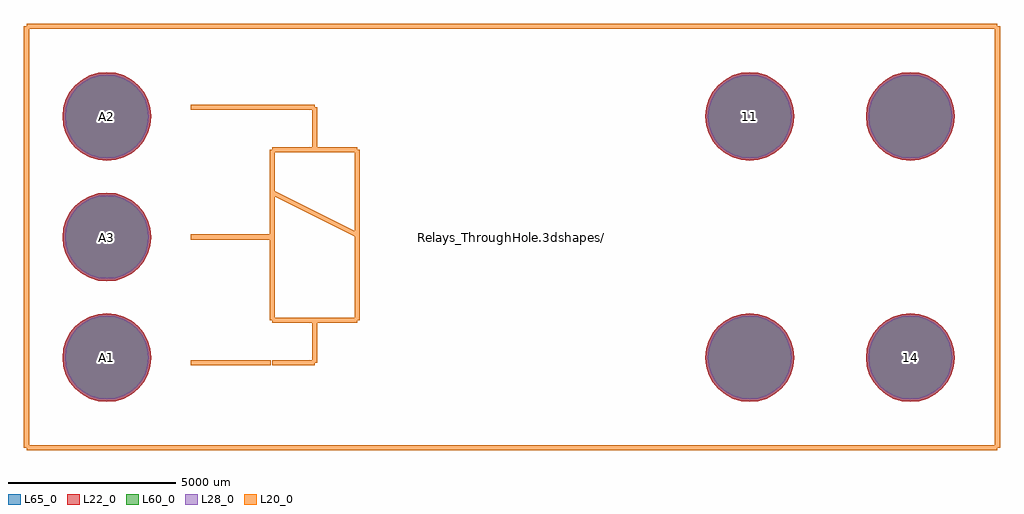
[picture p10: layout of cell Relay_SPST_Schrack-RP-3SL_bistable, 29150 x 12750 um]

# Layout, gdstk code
import gdstk
lib = gdstk.Library(unit=1e-6, precision=1e-09)
def P(c, l, *ps):  # polygons
    for p in ps: c.add(gdstk.Polygon(p, *l))
L20_0 = (20, 0)
L22_0 = (22, 0)
L28_0 = (28, 0)
L60_0 = (60, 0)
L65_0 = (65, 0)

relay_spst_schrack_rp_3s = lib.new_cell('Relay_SPST_Schrack-RP-3SL_bistable')
P(relay_spst_schrack_rp_3s, L22_0, [(1325,3600),(1299.54,3858.495),(1224.14,4107.056),(1101.697,4336.131),(936.916,4536.916),(736.131,4701.697),(507.056,4824.14),(258.495,4899.54),(0,4925),(-258.495,4899.54),(-507.056,4824.14),(-736.131,4701.697),(-936.916,4536.916),(-1101.697,4336.131),(-1224.14,4107.056),(-1299.54,3858.495),(-1325,3600),(-1299.54,3341.505),(-1224.14,3092.944),(-1101.697,2863.869),(-936.916,2663.084),(-736.131,2498.303),(-507.056,2375.86),(-258.495,2300.46),(0,2275),(258.495,2300.46),(507.056,2375.86),(736.131,2498.303),(936.916,2663.084),(1101.697,2863.869),(1224.14,3092.944),(1299.54,3341.505)],
  [(25325,7200),(25299.54,7458.495),(25224.14,7707.056),(25101.697,7936.131),(24936.916,8136.916),(24736.131,8301.697),(24507.056,8424.14),(24258.495,8499.54),(24000,8525),(23741.505,8499.54),(23492.944,8424.14),(23263.869,8301.697),(23063.084,8136.916),(22898.303,7936.131),(22775.86,7707.056),(22700.46,7458.495),(22675,7200),(22700.46,6941.505),(22775.86,6692.944),(22898.303,6463.869),(23063.084,6263.084),(23263.869,6098.303),(23492.944,5975.86),(23741.505,5900.46),(24000,5875),(24258.495,5900.46),(24507.056,5975.86),(24736.131,6098.303),(24936.916,6263.084),(25101.697,6463.869),(25224.14,6692.944),(25299.54,6941.505)],
  [(25325,0),(25299.54,258.495),(25224.14,507.056),(25101.697,736.131),(24936.916,936.916),(24736.131,1101.697),(24507.056,1224.14),(24258.495,1299.54),(24000,1325),(23741.505,1299.54),(23492.944,1224.14),(23263.869,1101.697),(23063.084,936.916),(22898.303,736.131),(22775.86,507.056),(22700.46,258.495),(22675,0),(22700.46,-258.495),(22775.86,-507.056),(22898.303,-736.131),(23063.084,-936.916),(23263.869,-1101.697),(23492.944,-1224.14),(23741.505,-1299.54),(24000,-1325),(24258.495,-1299.54),(24507.056,-1224.14),(24736.131,-1101.697),(24936.916,-936.916),(25101.697,-736.131),(25224.14,-507.056),(25299.54,-258.495)],
  [(20525,0),(20499.54,258.495),(20424.14,507.056),(20301.697,736.131),(20136.916,936.916),(19936.131,1101.697),(19707.056,1224.14),(19458.495,1299.54),(19200,1325),(18941.505,1299.54),(18692.944,1224.14),(18463.869,1101.697),(18263.084,936.916),(18098.303,736.131),(17975.86,507.056),(17900.46,258.495),(17875,0),(17900.46,-258.495),(17975.86,-507.056),(18098.303,-736.131),(18263.084,-936.916),(18463.869,-1101.697),(18692.944,-1224.14),(18941.505,-1299.54),(19200,-1325),(19458.495,-1299.54),(19707.056,-1224.14),(19936.131,-1101.697),(20136.916,-936.916),(20301.697,-736.131),(20424.14,-507.056),(20499.54,-258.495)],
  [(20525,7200),(20499.54,7458.495),(20424.14,7707.056),(20301.697,7936.131),(20136.916,8136.916),(19936.131,8301.697),(19707.056,8424.14),(19458.495,8499.54),(19200,8525),(18941.505,8499.54),(18692.944,8424.14),(18463.869,8301.697),(18263.084,8136.916),(18098.303,7936.131),(17975.86,7707.056),(17900.46,7458.495),(17875,7200),(17900.46,6941.505),(17975.86,6692.944),(18098.303,6463.869),(18263.084,6263.084),(18463.869,6098.303),(18692.944,5975.86),(18941.505,5900.46),(19200,5875),(19458.495,5900.46),(19707.056,5975.86),(19936.131,6098.303),(20136.916,6263.084),(20301.697,6463.869),(20424.14,6692.944),(20499.54,6941.505)],
  [(1325,0),(1299.54,258.495),(1224.14,507.056),(1101.697,736.131),(936.916,936.916),(736.131,1101.697),(507.056,1224.14),(258.495,1299.54),(0,1325),(-258.495,1299.54),(-507.056,1224.14),(-736.131,1101.697),(-936.916,936.916),(-1101.697,736.131),(-1224.14,507.056),(-1299.54,258.495),(-1325,0),(-1299.54,-258.495),(-1224.14,-507.056),(-1101.697,-736.131),(-936.916,-936.916),(-736.131,-1101.697),(-507.056,-1224.14),(-258.495,-1299.54),(0,-1325),(258.495,-1299.54),(507.056,-1224.14),(736.131,-1101.697),(936.916,-936.916),(1101.697,-736.131),(1224.14,-507.056),(1299.54,-258.495)],
  [(1325,7200),(1299.54,7458.495),(1224.14,7707.056),(1101.697,7936.131),(936.916,8136.916),(736.131,8301.697),(507.056,8424.14),(258.495,8499.54),(0,8525),(-258.495,8499.54),(-507.056,8424.14),(-736.131,8301.697),(-936.916,8136.916),(-1101.697,7936.131),(-1224.14,7707.056),(-1299.54,7458.495),(-1325,7200),(-1299.54,6941.505),(-1224.14,6692.944),(-1101.697,6463.869),(-936.916,6263.084),(-736.131,6098.303),(-507.056,5975.86),(-258.495,5900.46),(0,5875),(258.495,5900.46),(507.056,5975.86),(736.131,6098.303),(936.916,6263.084),(1101.697,6463.869),(1224.14,6692.944),(1299.54,6941.505)])
P(relay_spst_schrack_rp_3s, L28_0, [(1250,3600),(1225.982,3843.863),(1154.849,4078.354),(1039.337,4294.463),(883.883,4483.883),(694.463,4639.337),(478.354,4754.849),(243.863,4825.982),(0,4850),(-243.863,4825.982),(-478.354,4754.849),(-694.463,4639.337),(-883.883,4483.883),(-1039.337,4294.463),(-1154.849,4078.354),(-1225.982,3843.863),(-1250,3600),(-1225.982,3356.137),(-1154.849,3121.646),(-1039.337,2905.537),(-883.883,2716.117),(-694.463,2560.663),(-478.354,2445.151),(-243.863,2374.018),(0,2350),(243.863,2374.018),(478.354,2445.151),(694.463,2560.663),(883.883,2716.117),(1039.337,2905.537),(1154.849,3121.646),(1225.982,3356.137)],
  [(25250,7200),(25225.982,7443.863),(25154.849,7678.354),(25039.337,7894.463),(24883.883,8083.883),(24694.463,8239.337),(24478.354,8354.849),(24243.863,8425.982),(24000,8450),(23756.137,8425.982),(23521.646,8354.849),(23305.537,8239.337),(23116.117,8083.883),(22960.663,7894.463),(22845.151,7678.354),(22774.018,7443.863),(22750,7200),(22774.018,6956.137),(22845.151,6721.646),(22960.663,6505.537),(23116.117,6316.117),(23305.537,6160.663),(23521.646,6045.151),(23756.137,5974.018),(24000,5950),(24243.863,5974.018),(24478.354,6045.151),(24694.463,6160.663),(24883.883,6316.117),(25039.337,6505.537),(25154.849,6721.646),(25225.982,6956.137)],
  [(25250,0),(25225.982,243.863),(25154.849,478.354),(25039.337,694.463),(24883.883,883.883),(24694.463,1039.337),(24478.354,1154.849),(24243.863,1225.982),(24000,1250),(23756.137,1225.982),(23521.646,1154.849),(23305.537,1039.337),(23116.117,883.883),(22960.663,694.463),(22845.151,478.354),(22774.018,243.863),(22750,0),(22774.018,-243.863),(22845.151,-478.354),(22960.663,-694.463),(23116.117,-883.883),(23305.537,-1039.337),(23521.646,-1154.849),(23756.137,-1225.982),(24000,-1250),(24243.863,-1225.982),(24478.354,-1154.849),(24694.463,-1039.337),(24883.883,-883.883),(25039.337,-694.463),(25154.849,-478.354),(25225.982,-243.863)],
  [(20450,0),(20425.982,243.863),(20354.849,478.354),(20239.337,694.463),(20083.883,883.883),(19894.463,1039.337),(19678.354,1154.849),(19443.863,1225.982),(19200,1250),(18956.137,1225.982),(18721.646,1154.849),(18505.537,1039.337),(18316.117,883.883),(18160.663,694.463),(18045.151,478.354),(17974.018,243.863),(17950,0),(17974.018,-243.863),(18045.151,-478.354),(18160.663,-694.463),(18316.117,-883.883),(18505.537,-1039.337),(18721.646,-1154.849),(18956.137,-1225.982),(19200,-1250),(19443.863,-1225.982),(19678.354,-1154.849),(19894.463,-1039.337),(20083.883,-883.883),(20239.337,-694.463),(20354.849,-478.354),(20425.982,-243.863)],
  [(20450,7200),(20425.982,7443.863),(20354.849,7678.354),(20239.337,7894.463),(20083.883,8083.883),(19894.463,8239.337),(19678.354,8354.849),(19443.863,8425.982),(19200,8450),(18956.137,8425.982),(18721.646,8354.849),(18505.537,8239.337),(18316.117,8083.883),(18160.663,7894.463),(18045.151,7678.354),(17974.018,7443.863),(17950,7200),(17974.018,6956.137),(18045.151,6721.646),(18160.663,6505.537),(18316.117,6316.117),(18505.537,6160.663),(18721.646,6045.151),(18956.137,5974.018),(19200,5950),(19443.863,5974.018),(19678.354,6045.151),(19894.463,6160.663),(20083.883,6316.117),(20239.337,6505.537),(20354.849,6721.646),(20425.982,6956.137)],
  [(1250,0),(1225.982,243.863),(1154.849,478.354),(1039.337,694.463),(883.883,883.883),(694.463,1039.337),(478.354,1154.849),(243.863,1225.982),(0,1250),(-243.863,1225.982),(-478.354,1154.849),(-694.463,1039.337),(-883.883,883.883),(-1039.337,694.463),(-1154.849,478.354),(-1225.982,243.863),(-1250,0),(-1225.982,-243.863),(-1154.849,-478.354),(-1039.337,-694.463),(-883.883,-883.883),(-694.463,-1039.337),(-478.354,-1154.849),(-243.863,-1225.982),(0,-1250),(243.863,-1225.982),(478.354,-1154.849),(694.463,-1039.337),(883.883,-883.883),(1039.337,-694.463),(1154.849,-478.354),(1225.982,-243.863)],
  [(1250,7200),(1225.982,7443.863),(1154.849,7678.354),(1039.337,7894.463),(883.883,8083.883),(694.463,8239.337),(478.354,8354.849),(243.863,8425.982),(0,8450),(-243.863,8425.982),(-478.354,8354.849),(-694.463,8239.337),(-883.883,8083.883),(-1039.337,7894.463),(-1154.849,7678.354),(-1225.982,7443.863),(-1250,7200),(-1225.982,6956.137),(-1154.849,6721.646),(-1039.337,6505.537),(-883.883,6316.117),(-694.463,6160.663),(-478.354,6045.151),(-243.863,5974.018),(0,5950),(243.863,5974.018),(478.354,6045.151),(694.463,6160.663),(883.883,6316.117),(1039.337,6505.537),(1154.849,6721.646),(1225.982,6956.137)])
P(relay_spst_schrack_rp_3s, L60_0, [(1250,3600),(1225.982,3843.863),(1154.849,4078.354),(1039.337,4294.463),(883.883,4483.883),(694.463,4639.337),(478.354,4754.849),(243.863,4825.982),(0,4850),(-243.863,4825.982),(-478.354,4754.849),(-694.463,4639.337),(-883.883,4483.883),(-1039.337,4294.463),(-1154.849,4078.354),(-1225.982,3843.863),(-1250,3600),(-1225.982,3356.137),(-1154.849,3121.646),(-1039.337,2905.537),(-883.883,2716.117),(-694.463,2560.663),(-478.354,2445.151),(-243.863,2374.018),(0,2350),(243.863,2374.018),(478.354,2445.151),(694.463,2560.663),(883.883,2716.117),(1039.337,2905.537),(1154.849,3121.646),(1225.982,3356.137)],
  [(25250,7200),(25225.982,7443.863),(25154.849,7678.354),(25039.337,7894.463),(24883.883,8083.883),(24694.463,8239.337),(24478.354,8354.849),(24243.863,8425.982),(24000,8450),(23756.137,8425.982),(23521.646,8354.849),(23305.537,8239.337),(23116.117,8083.883),(22960.663,7894.463),(22845.151,7678.354),(22774.018,7443.863),(22750,7200),(22774.018,6956.137),(22845.151,6721.646),(22960.663,6505.537),(23116.117,6316.117),(23305.537,6160.663),(23521.646,6045.151),(23756.137,5974.018),(24000,5950),(24243.863,5974.018),(24478.354,6045.151),(24694.463,6160.663),(24883.883,6316.117),(25039.337,6505.537),(25154.849,6721.646),(25225.982,6956.137)],
  [(25250,0),(25225.982,243.863),(25154.849,478.354),(25039.337,694.463),(24883.883,883.883),(24694.463,1039.337),(24478.354,1154.849),(24243.863,1225.982),(24000,1250),(23756.137,1225.982),(23521.646,1154.849),(23305.537,1039.337),(23116.117,883.883),(22960.663,694.463),(22845.151,478.354),(22774.018,243.863),(22750,0),(22774.018,-243.863),(22845.151,-478.354),(22960.663,-694.463),(23116.117,-883.883),(23305.537,-1039.337),(23521.646,-1154.849),(23756.137,-1225.982),(24000,-1250),(24243.863,-1225.982),(24478.354,-1154.849),(24694.463,-1039.337),(24883.883,-883.883),(25039.337,-694.463),(25154.849,-478.354),(25225.982,-243.863)],
  [(20450,0),(20425.982,243.863),(20354.849,478.354),(20239.337,694.463),(20083.883,883.883),(19894.463,1039.337),(19678.354,1154.849),(19443.863,1225.982),(19200,1250),(18956.137,1225.982),(18721.646,1154.849),(18505.537,1039.337),(18316.117,883.883),(18160.663,694.463),(18045.151,478.354),(17974.018,243.863),(17950,0),(17974.018,-243.863),(18045.151,-478.354),(18160.663,-694.463),(18316.117,-883.883),(18505.537,-1039.337),(18721.646,-1154.849),(18956.137,-1225.982),(19200,-1250),(19443.863,-1225.982),(19678.354,-1154.849),(19894.463,-1039.337),(20083.883,-883.883),(20239.337,-694.463),(20354.849,-478.354),(20425.982,-243.863)],
  [(20450,7200),(20425.982,7443.863),(20354.849,7678.354),(20239.337,7894.463),(20083.883,8083.883),(19894.463,8239.337),(19678.354,8354.849),(19443.863,8425.982),(19200,8450),(18956.137,8425.982),(18721.646,8354.849),(18505.537,8239.337),(18316.117,8083.883),(18160.663,7894.463),(18045.151,7678.354),(17974.018,7443.863),(17950,7200),(17974.018,6956.137),(18045.151,6721.646),(18160.663,6505.537),(18316.117,6316.117),(18505.537,6160.663),(18721.646,6045.151),(18956.137,5974.018),(19200,5950),(19443.863,5974.018),(19678.354,6045.151),(19894.463,6160.663),(20083.883,6316.117),(20239.337,6505.537),(20354.849,6721.646),(20425.982,6956.137)],
  [(1250,0),(1225.982,243.863),(1154.849,478.354),(1039.337,694.463),(883.883,883.883),(694.463,1039.337),(478.354,1154.849),(243.863,1225.982),(0,1250),(-243.863,1225.982),(-478.354,1154.849),(-694.463,1039.337),(-883.883,883.883),(-1039.337,694.463),(-1154.849,478.354),(-1225.982,243.863),(-1250,0),(-1225.982,-243.863),(-1154.849,-478.354),(-1039.337,-694.463),(-883.883,-883.883),(-694.463,-1039.337),(-478.354,-1154.849),(-243.863,-1225.982),(0,-1250),(243.863,-1225.982),(478.354,-1154.849),(694.463,-1039.337),(883.883,-883.883),(1039.337,-694.463),(1154.849,-478.354),(1225.982,-243.863)],
  [(1250,7200),(1225.982,7443.863),(1154.849,7678.354),(1039.337,7894.463),(883.883,8083.883),(694.463,8239.337),(478.354,8354.849),(243.863,8425.982),(0,8450),(-243.863,8425.982),(-478.354,8354.849),(-694.463,8239.337),(-883.883,8083.883),(-1039.337,7894.463),(-1154.849,7678.354),(-1225.982,7443.863),(-1250,7200),(-1225.982,6956.137),(-1154.849,6721.646),(-1039.337,6505.537),(-883.883,6316.117),(-694.463,6160.663),(-478.354,6045.151),(-243.863,5974.018),(0,5950),(243.863,5974.018),(478.354,6045.151),(694.463,6160.663),(883.883,6316.117),(1039.337,6505.537),(1154.849,6721.646),(1225.982,6956.137)])
P(relay_spst_schrack_rp_3s, L65_0, [(1325,3600),(1299.54,3858.495),(1224.14,4107.056),(1101.697,4336.131),(936.916,4536.916),(736.131,4701.697),(507.056,4824.14),(258.495,4899.54),(0,4925),(-258.495,4899.54),(-507.056,4824.14),(-736.131,4701.697),(-936.916,4536.916),(-1101.697,4336.131),(-1224.14,4107.056),(-1299.54,3858.495),(-1325,3600),(-1299.54,3341.505),(-1224.14,3092.944),(-1101.697,2863.869),(-936.916,2663.084),(-736.131,2498.303),(-507.056,2375.86),(-258.495,2300.46),(0,2275),(258.495,2300.46),(507.056,2375.86),(736.131,2498.303),(936.916,2663.084),(1101.697,2863.869),(1224.14,3092.944),(1299.54,3341.505)],
  [(25325,7200),(25299.54,7458.495),(25224.14,7707.056),(25101.697,7936.131),(24936.916,8136.916),(24736.131,8301.697),(24507.056,8424.14),(24258.495,8499.54),(24000,8525),(23741.505,8499.54),(23492.944,8424.14),(23263.869,8301.697),(23063.084,8136.916),(22898.303,7936.131),(22775.86,7707.056),(22700.46,7458.495),(22675,7200),(22700.46,6941.505),(22775.86,6692.944),(22898.303,6463.869),(23063.084,6263.084),(23263.869,6098.303),(23492.944,5975.86),(23741.505,5900.46),(24000,5875),(24258.495,5900.46),(24507.056,5975.86),(24736.131,6098.303),(24936.916,6263.084),(25101.697,6463.869),(25224.14,6692.944),(25299.54,6941.505)],
  [(25325,0),(25299.54,258.495),(25224.14,507.056),(25101.697,736.131),(24936.916,936.916),(24736.131,1101.697),(24507.056,1224.14),(24258.495,1299.54),(24000,1325),(23741.505,1299.54),(23492.944,1224.14),(23263.869,1101.697),(23063.084,936.916),(22898.303,736.131),(22775.86,507.056),(22700.46,258.495),(22675,0),(22700.46,-258.495),(22775.86,-507.056),(22898.303,-736.131),(23063.084,-936.916),(23263.869,-1101.697),(23492.944,-1224.14),(23741.505,-1299.54),(24000,-1325),(24258.495,-1299.54),(24507.056,-1224.14),(24736.131,-1101.697),(24936.916,-936.916),(25101.697,-736.131),(25224.14,-507.056),(25299.54,-258.495)],
  [(20525,0),(20499.54,258.495),(20424.14,507.056),(20301.697,736.131),(20136.916,936.916),(19936.131,1101.697),(19707.056,1224.14),(19458.495,1299.54),(19200,1325),(18941.505,1299.54),(18692.944,1224.14),(18463.869,1101.697),(18263.084,936.916),(18098.303,736.131),(17975.86,507.056),(17900.46,258.495),(17875,0),(17900.46,-258.495),(17975.86,-507.056),(18098.303,-736.131),(18263.084,-936.916),(18463.869,-1101.697),(18692.944,-1224.14),(18941.505,-1299.54),(19200,-1325),(19458.495,-1299.54),(19707.056,-1224.14),(19936.131,-1101.697),(20136.916,-936.916),(20301.697,-736.131),(20424.14,-507.056),(20499.54,-258.495)],
  [(20525,7200),(20499.54,7458.495),(20424.14,7707.056),(20301.697,7936.131),(20136.916,8136.916),(19936.131,8301.697),(19707.056,8424.14),(19458.495,8499.54),(19200,8525),(18941.505,8499.54),(18692.944,8424.14),(18463.869,8301.697),(18263.084,8136.916),(18098.303,7936.131),(17975.86,7707.056),(17900.46,7458.495),(17875,7200),(17900.46,6941.505),(17975.86,6692.944),(18098.303,6463.869),(18263.084,6263.084),(18463.869,6098.303),(18692.944,5975.86),(18941.505,5900.46),(19200,5875),(19458.495,5900.46),(19707.056,5975.86),(19936.131,6098.303),(20136.916,6263.084),(20301.697,6463.869),(20424.14,6692.944),(20499.54,6941.505)],
  [(1325,0),(1299.54,258.495),(1224.14,507.056),(1101.697,736.131),(936.916,936.916),(736.131,1101.697),(507.056,1224.14),(258.495,1299.54),(0,1325),(-258.495,1299.54),(-507.056,1224.14),(-736.131,1101.697),(-936.916,936.916),(-1101.697,736.131),(-1224.14,507.056),(-1299.54,258.495),(-1325,0),(-1299.54,-258.495),(-1224.14,-507.056),(-1101.697,-736.131),(-936.916,-936.916),(-736.131,-1101.697),(-507.056,-1224.14),(-258.495,-1299.54),(0,-1325),(258.495,-1299.54),(507.056,-1224.14),(736.131,-1101.697),(936.916,-936.916),(1101.697,-736.131),(1224.14,-507.056),(1299.54,-258.495)],
  [(1325,7200),(1299.54,7458.495),(1224.14,7707.056),(1101.697,7936.131),(936.916,8136.916),(736.131,8301.697),(507.056,8424.14),(258.495,8499.54),(0,8525),(-258.495,8499.54),(-507.056,8424.14),(-736.131,8301.697),(-936.916,8136.916),(-1101.697,7936.131),(-1224.14,7707.056),(-1299.54,7458.495),(-1325,7200),(-1299.54,6941.505),(-1224.14,6692.944),(-1101.697,6463.869),(-936.916,6263.084),(-736.131,6098.303),(-507.056,5975.86),(-258.495,5900.46),(0,5875),(258.495,5900.46),(507.056,5975.86),(736.131,6098.303),(936.916,6263.084),(1101.697,6463.869),(1224.14,6692.944),(1299.54,6941.505)])
relay_spst_schrack_rp_3s.add(gdstk.FlexPath([(4938,6200),(6208,6200)], 149.998, ends="flush", simple_path=True, layer=20, datatype=0))  # L20_0
relay_spst_schrack_rp_3s.add(gdstk.FlexPath([(4938,1120),(4938,6200)], 149.998, ends="flush", simple_path=True, layer=20, datatype=0))  # L20_0
relay_spst_schrack_rp_3s.add(gdstk.FlexPath([(7478,1120),(4938,1120)], 149.998, ends="flush", simple_path=True, layer=20, datatype=0))  # L20_0
relay_spst_schrack_rp_3s.add(gdstk.FlexPath([(7478,6200),(7478,1120)], 149.998, ends="flush", simple_path=True, layer=20, datatype=0))  # L20_0
relay_spst_schrack_rp_3s.add(gdstk.FlexPath([(6208,6200),(7478,6200)], 149.998, ends="flush", simple_path=True, layer=20, datatype=0))  # L20_0
relay_spst_schrack_rp_3s.add(gdstk.FlexPath([(6208,7470),(6208,6200)], 149.998, ends="flush", simple_path=True, layer=20, datatype=0))  # L20_0
relay_spst_schrack_rp_3s.add(gdstk.FlexPath([(2500,7470),(6208,7470)], 149.998, ends="flush", simple_path=True, layer=20, datatype=0))  # L20_0
relay_spst_schrack_rp_3s.add(gdstk.FlexPath([(6208,-150),(4938,-150)], 149.998, ends="flush", simple_path=True, layer=20, datatype=0))  # L20_0
relay_spst_schrack_rp_3s.add(gdstk.FlexPath([(6208,1120),(6208,-150)], 149.998, ends="flush", simple_path=True, layer=20, datatype=0))  # L20_0
relay_spst_schrack_rp_3s.add(gdstk.FlexPath([(4938,4930),(7478,3660)], 149.998, ends="flush", simple_path=True, layer=20, datatype=0))  # L20_0
relay_spst_schrack_rp_3s.add(gdstk.FlexPath([(-2400,9900),(-2400,-2700)], 149.998, ends="flush", simple_path=True, layer=20, datatype=0))  # L20_0
relay_spst_schrack_rp_3s.add(gdstk.FlexPath([(26600,9900),(-2400,9900)], 149.998, ends="flush", simple_path=True, layer=20, datatype=0))  # L20_0
relay_spst_schrack_rp_3s.add(gdstk.FlexPath([(26600,-2700),(26600,9900)], 149.998, ends="flush", simple_path=True, layer=20, datatype=0))  # L20_0
relay_spst_schrack_rp_3s.add(gdstk.FlexPath([(-2400,-2700),(26600,-2700)], 149.998, ends="flush", simple_path=True, layer=20, datatype=0))  # L20_0
relay_spst_schrack_rp_3s.add(gdstk.FlexPath([(4900,3600),(2500,3600)], 149.998, ends="flush", simple_path=True, layer=20, datatype=0))  # L20_0
relay_spst_schrack_rp_3s.add(gdstk.FlexPath([(4900,-150),(2500,-150)], 149.998, ends="flush", simple_path=True, layer=20, datatype=0))  # L20_0
relay_spst_schrack_rp_3s.add(gdstk.Label('Relays_ThroughHole.3dshapes/Relay_SPST_Schrack-RP-3SL_bistable.wrl', (12090.4,3599.18), layer=12, texttype=0))
relay_spst_schrack_rp_3s.add(gdstk.Label('A3', (0,3600), layer=28, texttype=0))
relay_spst_schrack_rp_3s.add(gdstk.Label('14', (24000,0), layer=28, texttype=0))
relay_spst_schrack_rp_3s.add(gdstk.Label('11', (19200,7200), layer=28, texttype=0))
relay_spst_schrack_rp_3s.add(gdstk.Label('A1', (0,0), layer=28, texttype=0))
relay_spst_schrack_rp_3s.add(gdstk.Label('A2', (0,7200), layer=28, texttype=0))
relay_spst_schrack_rp_3s.add(gdstk.Label('type', (12900,-4500), layer=9, texttype=0))
relay_spst_schrack_rp_3s.add(gdstk.Label('devicename', (12446,11176), layer=9, texttype=0))

lib.write_gds('Relay_SPST_Schrack-RP-3SL_bistable.gds')
